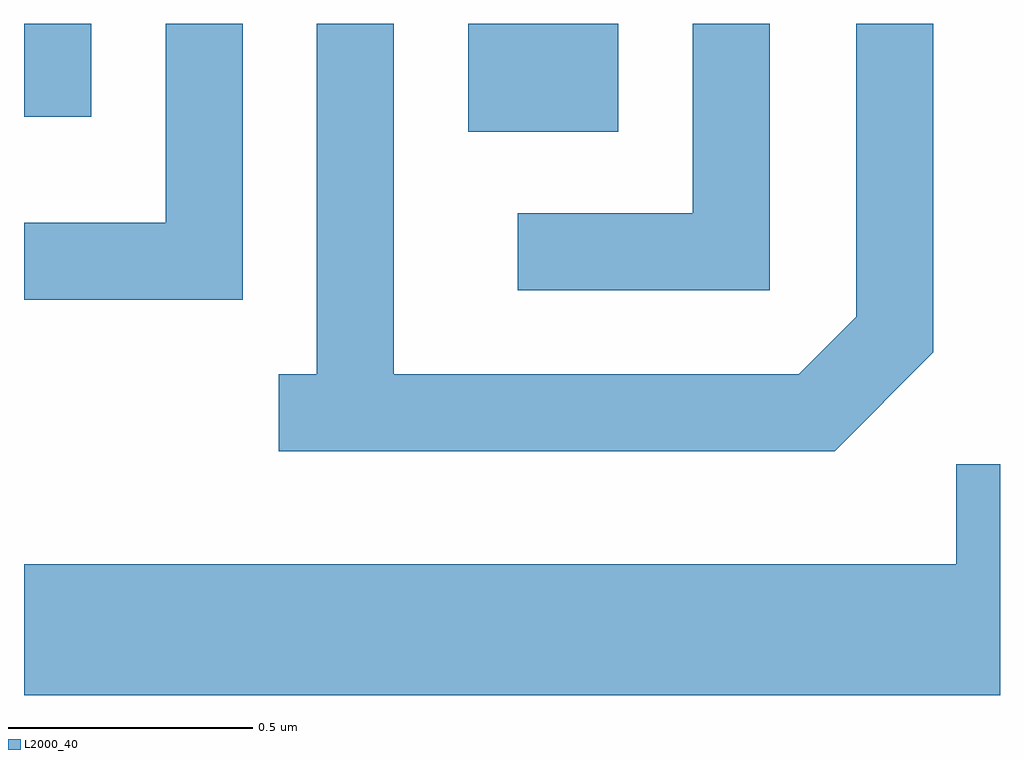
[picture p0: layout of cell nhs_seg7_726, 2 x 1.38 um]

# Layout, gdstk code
import gdstk
lib = gdstk.Library(unit=1e-6, precision=1e-09)
def R(c, l, rs):  # rectangles x0, y0, x1, y1
    for r in rs: c.add(gdstk.rectangle(r[:2], r[2:], *l))
def P(c, l, *ps):  # polygons
    for p in ps: c.add(gdstk.Polygon(p, *l))
L2000_40 = (2000, 40)

nhs_seg7_726 = lib.new_cell('nhs_seg7_726')
R(nhs_seg7_726, L2000_40, [(191.521,1711.031,191.829,1711.252), (190.611,1711.061,190.749,1711.252)])
P(nhs_seg7_726, L2000_40, [(191.059,1711.252),(190.901,1711.252),(190.901,1710.844),(190.611,1710.844),(190.611,1710.686),(191.059,1710.686)],
  [(192.474,1710.579),(192.474,1711.252),(192.316,1711.252),(192.316,1710.652),(192.199,1710.534),(191.369,1710.534),(191.369,1711.252),(191.211,1711.252),(191.211,1710.534),(191.133,1710.534),(191.133,1710.376),(192.272,1710.376)],
  [(192.139,1711.252),(191.981,1711.252),(191.981,1710.864),(191.623,1710.864),(191.623,1710.706),(192.139,1710.706)],
  [(192.611,1710.349),(192.521,1710.349),(192.521,1710.144),(190.611,1710.144),(190.611,1709.876),(192.611,1709.876)])

lib.write_gds('nhs_seg7_726.gds')
